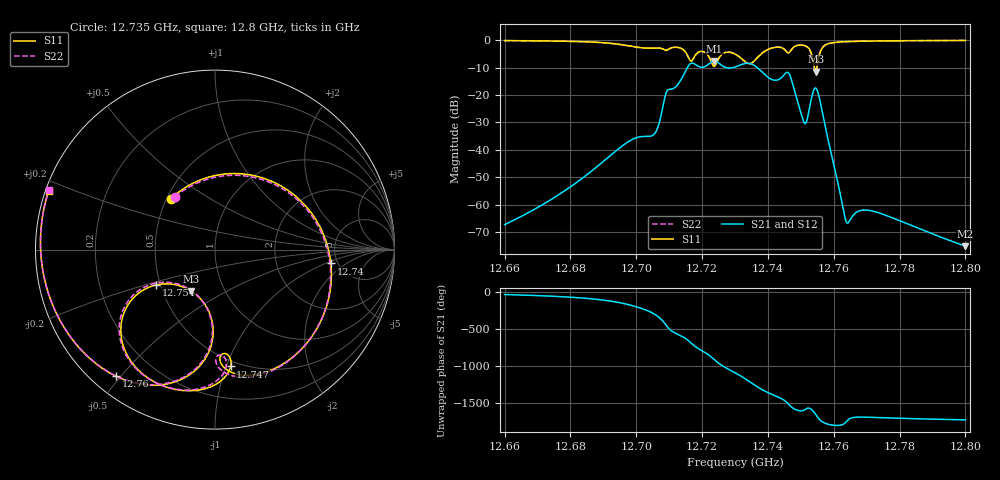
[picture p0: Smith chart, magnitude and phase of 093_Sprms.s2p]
! TOUCHSTONE file generated by CST MICROWAVE STUDIO
! Date and time: Wed Jul 31 15:25:55 2024
! Project name: WaveGuide_BPF-Ver4.1_U-shape_Ku_T3_C4_CWA_2.cst
! Parameters = {cavity_h=16; cavity_l0=10; cavity_l1=15.2196; cavity_l2=16.875; cavity_l3=17.0928; cavity_l4=17.2401; cavity_l5=17.1468; cavity_l6=17.6011; cavity_r=2.5; cavity_screw_l=0.5; cavity_screw_r=1.5; cavity_w=8; iris_h00=0; iris_h01=8.8176; iris_h112=0; iris_h12=5.6044; iris_h211=3.6625; i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
! Header version: 2018
! Port assignment regex: !\s*Touchstone port\s*([0-9]+)\s*=\s*(CST MWS port|CST DS port)\s*([0-9]+|Zmin|Zmax)\s*\(\"(.*)\"\)(\s*mode\s*([0-9]+))?.*
! Touchstone port assignment:
! Touchstone port 1 = CST MWS port 1 ("")
! Touchstone port 2 = CST MWS port 2 ("")
# GHz S RI R 50
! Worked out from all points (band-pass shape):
!   5001 points, 12.66 GHz to 12.8 GHz, reference 50 ohm
!   highest |S21| = -7.58 dB at 12.724 GHz (marker M1); lowest = -75.0 dB at 12.8 GHz (marker M2)
!   |S21| within 3 dB of the highest: 12.71528 GHz to 12.73729 GHz (22 MHz wide, 0.173 % of centre)
!   lowest |S11| = -11.5 dB at 12.755 GHz (marker M3), VSWR 1.73, Z = 34.6 - j17.1 ohm
!   |S11| at or under -10 dB: 12.75415 GHz to 12.75488 GHz (732.1 kHz wide, 0.00574 % of centre)
!   |S22| runs from -11.6 to -0.1 dB; largest |S21 - S12| = 1e-09
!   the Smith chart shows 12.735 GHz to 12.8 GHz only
!   S11 on the Smith chart (normalised r, x): 12.735 GHz: 0.53, +0.35; 12.74 GHz: 4.39, -1.17; 12.747 GHz: 0.45, -1.04; 12.754 GHz: 0.48, -0.22; 12.76 GHz: 0.07, -0.49; 12.8 GHz: 0.01, +0.17
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12.66  0.4095 0.8868  0.000379 -0.000216  0.000379 -0.000216  0.4182 0.8827
12.68335  0.8671 0.3508  0.00073 -0.00288  0.00073 -0.00288  0.8725 0.3354
12.69245  0.8124 -0.3088  -0.00413 -0.00707  -0.00413 -0.00707  0.8016 -0.3314
12.69875  0.1083 -0.7595  -0.0155 -0.000176  -0.0155 -0.000176  0.0733 -0.7617
12.70668  -0.6179 0.3618  0.0238 0.0128  0.0238 0.0128  -0.6031 0.3894
12.71166  0.0272 0.7384  -0.1347 0.0162  -0.1347 0.0162  0.0423 0.7384
12.7176  0.3212 0.3686  0.3703 -0.0161  0.3703 -0.0161  0.3243 0.3651
12.72115  0.5792 0.0187  -0.0738 -0.3279  -0.0738 -0.3279  0.5833 0.0182
12.7237  0.3282 -0.0334  -0.4107 0.0769  -0.4107 0.0769  0.3414 -0.0406
12.73  -0.00862 -0.5567  0.3197 -0.0473  0.3197 -0.0473  -0.0179 -0.557
12.73465  -0.2447 0.2845  -0.2714 -0.254  -0.2714 -0.254  -0.2222 0.2949
12.73952  0.6454 -0.077  -0.0114 0.2217  -0.0114 0.2217  0.6437 -0.1199
12.74705  0.0869 -0.6507  -0.0685 -0.1859  -0.0685 -0.1859  0.0597 -0.6589
12.75108  -0.4223 -0.6755  -0.0275 -0.0138  -0.0275 -0.0138  -0.4473 -0.6548
12.75335  -0.4621 -0.2775  -0.0817 -0.0461  -0.0817 -0.0461  -0.4441 -0.2432
12.75391  -0.3262 -0.1966  -0.1225 -0.00392  -0.1225 -0.00392  -0.2894 -0.182
12.75453  -0.1351 -0.2298  -0.1082 0.0786  -0.1082 0.0786  -0.1026 -0.2507
12.75982  -0.5524 -0.7052  0.00607 6.83e-05  0.00607 6.83e-05  -0.5683 -0.6955
12.76405  -0.7714 -0.5301  0.000238 0.000402  0.000238 0.000402  -0.7804 -0.5185
12.77668  -0.9614 -0.1043  -9.74e-05 0.00061  -9.74e-05 0.00061  -0.9628 -0.0941
12.79994  -0.9269 0.3276  5.13e-05 0.00017  5.13e-05 0.00017  -0.9245 0.3348
12.8  -0.9267 0.3283  5.12e-05 0.000169  5.12e-05 0.000169  -0.9243 0.3355
